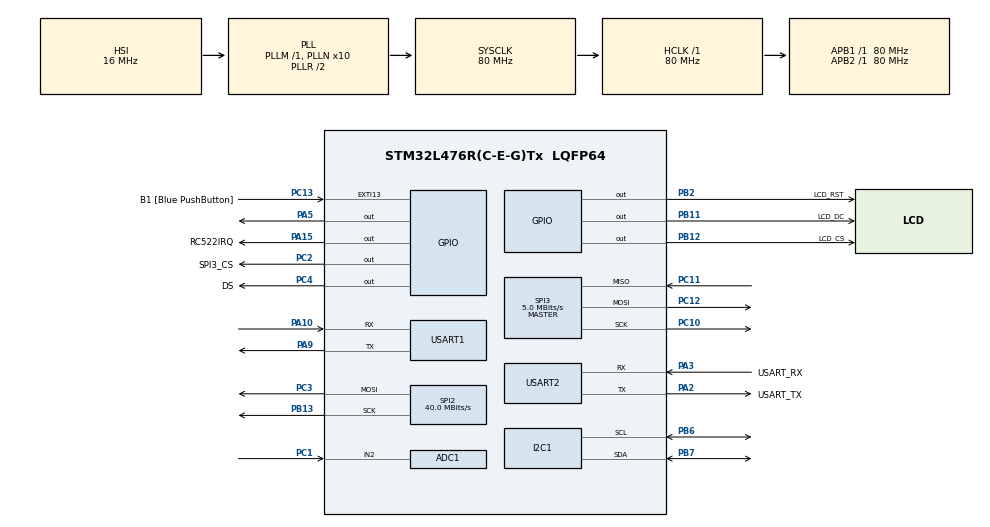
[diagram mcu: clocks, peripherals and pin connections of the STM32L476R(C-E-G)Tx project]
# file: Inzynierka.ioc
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ADC1.Channel-2\#ChannelRegularConversion=ADC_CHANNEL_2
ADC1.ContinuousConvMode=ENABLE
ADC1.NbrOfConversionFlag=1
ADC1.OffsetNumber-2\#ChannelRegularConversion=ADC_OFFSET_NONE
ADC1.Overrun=ADC_OVR_DATA_OVERWRITTEN
ADC1.Rank-2\#ChannelRegularConversion=1
ADC1.SamplingTime-2\#ChannelRegularConversion=ADC_SAMPLETIME_2CYCLES_5
ADC1.master=1
I2C1.Timing=0x10D19CE4
Mcu.Family=STM32L4
Mcu.Name=STM32L476R(C-E-G)Tx
Mcu.Package=LQFP64
NVIC.PriorityGroup=NVIC_PRIORITYGROUP_4
NVIC.TIM7_IRQn=true\:10\:0\:true\:false\:true\:true\:true\:true
PA10.Mode=Asynchronous
PA10.Signal=USART1_RX
PA13\ (JTMS-SWDIO).GPIO_Label=TMS
PA13\ (JTMS-SWDIO).Mode=Serial_Wire
PA13\ (JTMS-SWDIO).Signal=SYS_JTMS-SWDIO
PA14\ (JTCK-SWCLK).GPIO_Label=TCK
PA14\ (JTCK-SWCLK).Mode=Serial_Wire
PA14\ (JTCK-SWCLK).Signal=SYS_JTCK-SWCLK
PA15\ (JTDI).GPIO_Label=RC522IRQ
PA15\ (JTDI).GPIO_ModeDefaultOutputPP=GPIO_MODE_OUTPUT_PP
PA15\ (JTDI).GPIO_PuPd=GPIO_NOPULL
PA15\ (JTDI).Signal=GPIO_Output
PA2.GPIO_Label=USART_TX
PA2.GPIO_Mode=GPIO_MODE_AF_PP
PA2.GPIO_PuPd=GPIO_NOPULL
PA2.GPIO_Speed=GPIO_SPEED_FREQ_VERY_HIGH
PA2.Mode=Asynchronous
PA2.Signal=USART2_TX
PA3.GPIO_Label=USART_RX
PA3.GPIO_Mode=GPIO_MODE_AF_PP
PA3.GPIO_PuPd=GPIO_NOPULL
PA3.GPIO_Speed=GPIO_SPEED_FREQ_VERY_HIGH
PA3.Mode=Asynchronous
PA3.Signal=USART2_RX
PA5.PinState=GPIO_PIN_SET
PA5.Signal=GPIO_Output
PA9.Mode=Asynchronous
PA9.Signal=USART1_TX
PB11.GPIO_Label=LCD_DC
PB11.Signal=GPIO_Output
PB12.GPIO_Label=LCD_CS
PB12.PinState=GPIO_PIN_SET
PB12.Signal=GPIO_Output
PB13.Mode=TX_Only_Simplex_Unidirect_Master
PB13.Signal=SPI2_SCK
PB2.GPIO_Label=LCD_RST
PB2.Signal=GPIO_Output
PB3\ (JTDO-TRACESWO).GPIO_Label=SWO
PB3\ (JTDO-TRACESWO).Signal=SYS_JTDO-SWO
PB6.Mode=I2C
PB6.Signal=I2C1_SCL
PB7.Mode=I2C
PB7.Signal=I2C1_SDA
PC1.Signal=ADCx_IN2
PC10.Mode=Full_Duplex_Master
PC10.Signal=SPI3_SCK
PC11.Mode=Full_Duplex_Master
PC11.Signal=SPI3_MISO
PC12.Mode=Full_Duplex_Master
PC12.Signal=SPI3_MOSI
PC13.GPIO_Label=B1 [Blue PushButton]
PC13.GPIO_ModeDefaultEXTI=GPIO_MODE_IT_FALLING
PC13.GPIO_PuPd=GPIO_NOPULL
PC13.Signal=GPXTI13
PC14-OSC32_IN\ (PC14).Mode=LSE-External-Oscillator
PC14-OSC32_IN\ (PC14).Signal=RCC_OSC32_IN
PC15-OSC32_OUT\ (PC15).Mode=LSE-External-Oscillator
PC15-OSC32_OUT\ (PC15).Signal=RCC_OSC32_OUT
PC2.GPIO_Label=SPI3_CS
PC2.GPIO_PuPd=GPIO_PULLUP
PC2.PinState=GPIO_PIN_RESET
PC2.Signal=GPIO_Output
PC3.Mode=TX_Only_Simplex_Unidirect_Master
PC3.Signal=SPI2_MOSI
PC4.GPIO_Label=DS
PC4.GPIO_ModeDefaultOutputPP=GPIO_MODE_OUTPUT_OD
PC4.GPIO_PuPd=GPIO_NOPULL
PC4.PinState=GPIO_PIN_SET
PC4.Signal=GPIO_Output
PH0-OSC_IN\ (PH0).Signal=RCC_OSC_IN
PH1-OSC_OUT\ (PH1).Signal=RCC_OSC_OUT
ProjectManager.HeapSize=0x200
ProjectManager.StackSize=0x400
ProjectManager.TargetToolchain=STM32CubeIDE
RCC.ADCFreq_Value=64000000
RCC.AHBFreq_Value=80000000
RCC.APB1Freq_Value=80000000
RCC.APB1TimFreq_Value=80000000
RCC.APB2Freq_Value=80000000
RCC.APB2TimFreq_Value=80000000
RCC.CortexFreq_Value=80000000
RCC.HCLKFreq_Value=80000000
RCC.HSE_VALUE=8000000
RCC.HSI_VALUE=16000000
RCC.MSI_VALUE=4000000
RCC.PLLN=10
RCC.PLLSourceVirtual=RCC_PLLSOURCE_HSI
RCC.PREFETCH_ENABLE=1
RCC.SYSCLKFreq_VALUE=80000000
RCC.SYSCLKSource=RCC_SYSCLKSOURCE_PLLCLK
RCC.USBFreq_Value=64000000
RCC.VCOOutputFreq_Value=160000000
SH.ADCx_IN2.0=ADC1_IN2,IN2-Single-Ended
SPI2.CalculateBaudRate=40.0 MBits/s
SPI2.DataSize=SPI_DATASIZE_8BIT
SPI2.Direction=SPI_DIRECTION_2LINES
SPI2.Mode=SPI_MODE_MASTER
SPI2.VirtualType=VM_MASTER
SPI3.BaudRatePrescaler=SPI_BAUDRATEPRESCALER_16
SPI3.CalculateBaudRate=5.0 MBits/s
SPI3.DataSize=SPI_DATASIZE_8BIT
SPI3.Direction=SPI_DIRECTION_2LINES
SPI3.Mode=SPI_MODE_MASTER
SPI3.VirtualType=VM_MASTER
TIM6.Prescaler=79
TIM7.Prescaler=9999
USART1.VirtualMode-Asynchronous=VM_ASYNC
USART2.VirtualMode-Asynchronous=VM_ASYNC
VP_RTC_VS_RTC_Activate.Mode=RTC_Enabled
VP_TIM6_VS_ClockSourceINT.Mode=Enable_Timer
VP_TIM7_VS_ClockSourceINT.Mode=Enable_Timer
board=NUCLEO-L476RG

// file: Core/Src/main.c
/* USER CODE BEGIN Header */
/**
  ******************************************************************************
  * @file           : main.c
  * @brief          : Main program body
  ******************************************************************************
  * @attention
  *
  * Copyright (c) 2024 STMicroelectronics.
  * All rights reserved.
  *
  * This software is licensed under terms that can be found in the LICENSE file
  * in the root directory of this software component.
  * If no LICENSE file comes with this software, it is provided AS-IS.
  *
  ******************************************************************************
  */
/* USER CODE END Header */
#include "main.h"
#include "adc.h"
#include "i2c.h"
#include "rtc.h"
#include "spi.h"
#include "tim.h"
#include "usart.h"
#include "gpio.h"

/* USER CODE BEGIN Includes */
#include "hagl.h"
#include "font6x9.h"
#include "rgb565.h"
#include <stdio.h>
#include "ds18b20.h"
#include <wchar.h>
#include "mfrc522.h"
#include <string.h>
#include "lps25hb.h"
#include <stdbool.h>
/* USER CODE END Includes */

/* USER CODE BEGIN PV */

float voltage;
float temp;
float templps25TempAmount;
float templps25PressureAmount;
char str1[100];
uint8_t cardstr[20];
uint8_t status = 0;
char buffer[50];

typedef struct {
    uint8_t id[5];
    bool hasEntered;
} Person;

int people_in_building = 0;

Person registered_people[] = {
    {{0xA3, 0xBD, 0x45, 0x90, 0xCB}, false},  // Person 1
    {{0xC1, 0xFC, 0x71, 0x1C, 0x50}, false}   // Person 2
};

int find_person_by_card(uint8_t *cardstr) {
    for (int i = 0; i < sizeof(registered_people) / sizeof(Person); i++) {
        int match = 1;
        for (int j = 0; j < 5; j++) {
            if (cardstr[j] != registered_people[i].id[j]) {
                match = 0;
                break;
            }
        }
        if (match) {
            return i;
        }
    }
    return -1;
}

void process_card_scan(uint8_t *cardstr) {
    int person_index = find_person_by_card(cardstr);

    // If the card is registered
    if (person_index != -1) {
        Person *person = &registered_people[person_index];  // Get the person details

        // Check if the person has entered or exited
        if (person->hasEntered) {
            // Person exits
            if (people_in_building > 0) {
                people_in_building--;
                printf("Person exited. People in building: %d\n", people_in_building);
            }
            person->hasEntered = false;  // Toggle to exit status
        } else {
            // Person enters
            people_in_building++;
            printf("Person entered. People in building: %d\n", people_in_building);
            person->hasEntered = true;   // Toggle to enter status
        }
    } else {
        printf("Unregistered card scanned!\n");
    }
}

int __io_putchar(int ch)
{
  if (ch == '\n') {
    __io_putchar('\r');
  }

  HAL_UART_Transmit(&huart2, (uint8_t*)&ch, 1, HAL_MAX_DELAY);

  return 1;
}

void ConvertFloatToWchar(float value, wchar_t* wbuffer, size_t buffer_size) {
    swprintf(wbuffer, buffer_size, L"%.1f °C", value);
}
void ConvertFloatToWchar2(float value, wchar_t* wbuffer, size_t buffer_size) {
    swprintf(wbuffer, buffer_size, L"Temperatura %.1f °C", value);
}
void ConvertFloatToWchar3(float value, wchar_t* wbuffer, size_t buffer_size) {
    swprintf(wbuffer, buffer_size, L"Ciśnienie %.1f hPa", value);
}

void send_data(float temp, uint8_t *cardstr) {
    uint8_t tx_buffer[24];

    memcpy(tx_buffer, &temp, sizeof(float));
    memcpy(tx_buffer + 4, cardstr, 20);

    HAL_UART_Transmit(&huart1, tx_buffer, sizeof(tx_buffer), HAL_MAX_DELAY);
}

void send_telemetry_to_esp32(float temperature, float pressure, float light_level, int people_count) {
    char message[100];
    sprintf(message, "TELE:%.2f,%.2f,%.2f,%d\n", temperature, pressure, light_level, people_count);
    HAL_UART_Transmit(&huart1, (uint8_t*)message, strlen(message), HAL_MAX_DELAY);
}

void send_rfid_to_esp32(float temperature, uint8_t *card_info) {
    char message[100];
    sprintf(message, "RFID:%.2f,%02X%02X%02X%02X%02X\n", temperature, card_info[0], card_info[1], card_info[2], card_info[3], card_info[4]);

    if (HAL_UART_Transmit(&huart1, (uint8_t*)message, strlen(message), HAL_MAX_DELAY) != HAL_OK) {
        printf("UART Transmit failed for RFID data\n");
    } else {
        printf("RFID data sent: %s\n", message);  // Debug print to console
    }
}

int overflow_count = 0;
void HAL_TIM_PeriodElapsedCallback(TIM_HandleTypeDef *htim) {
    if (htim == &htim7) {
        overflow_count++;

        if (overflow_count >= 8) {  // After 8 overflows (~60 seconds)
            overflow_count = 0;
            send_telemetry_to_esp32(templps25TempAmount, templps25PressureAmount, voltage, people_in_building);// Send data to ESP32
        }
    }
}

/* USER CODE END PV */

void SystemClock_Config(void);

int main(void)
{

  /* MCU Configuration--------------------------------------------------------*/

  /* Reset of all peripherals, Initializes the Flash interface and the Systick. */
  HAL_Init();

  /* Configure the system clock */
  SystemClock_Config();

  /* Initialize all configured peripherals */
  MX_GPIO_Init();
  MX_USART2_UART_Init();
  MX_SPI2_Init();
  MX_RTC_Init();
  MX_SPI3_Init();
  MX_USART1_UART_Init();
  MX_I2C1_Init();
  MX_ADC1_Init();
  MX_TIM6_Init();
  MX_TIM7_Init();
  /* USER CODE BEGIN 2 */
  MFRC522_Init(&hspi3);
  HAL_ADC_Start(&hadc1);
  HAL_TIM_Base_Start_IT(&htim7);

  if (ds18b20_init() != HAL_OK) {
    Error_Handler();
  }

  uint8_t ds1[DS18B20_ROM_CODE_SIZE];

  if (ds18b20_read_address(ds1) != HAL_OK) {
    Error_Handler();
  }
  lcd_init();

  for (int i = 0; i < 8; i++) {
  	    hagl_draw_rounded_rectangle(2+i, 2+i, 158-i, 126-i, 8-i, rgb565(100, 0, i*16));
  }

  HAL_ADCEx_Calibration_Start(&hadc1, ADC_SINGLE_ENDED);

  /* USER CODE END 2 */

  /* Infinite loop */
  /* USER CODE BEGIN WHILE */
  while (1)
  {
	  lps25hb_init();
	  ds18b20_start_measure(NULL);
	  HAL_Delay(750);
	  if (HAL_ADC_PollForConversion(&hadc1, HAL_MAX_DELAY) == HAL_OK){
	  	uint32_t LDR_Value = HAL_ADC_GetValue(&hadc1);
	  	voltage = 100 - (LDR_Value * 0.0008f / 2.5f * 100);
	  	sprintf(buffer, "Poziom natężenia oświetlenia: %f\r\n", voltage);
	  	HAL_UART_Transmit(&huart2, (uint8_t*)buffer, strlen(buffer), HAL_MAX_DELAY);
	  }
	    temp = ds18b20_get_temp(NULL);
	    templps25TempAmount = lps25hb_read_temp();
	    templps25PressureAmount = lps25hb_read_pressure();
	    wchar_t wbuffer[20];
	    wchar_t wbufferlps25hpTemp[20];
	    wchar_t wbufferlps25hpPress[21];
	    ConvertFloatToWchar(temp, wbuffer, sizeof(wbuffer) / sizeof(wchar_t));
	    ConvertFloatToWchar2(templps25TempAmount, wbufferlps25hpTemp, sizeof(wbufferlps25hpTemp) / sizeof(wchar_t));
	    ConvertFloatToWchar3(templps25PressureAmount, wbufferlps25hpPress, sizeof(wbufferlps25hpPress) / sizeof(wchar_t));
	    if (temp >= 80.0f){
	      printf(" DS18 sensor error...\n");
	    }
	    else{
	    	hagl_put_text(wbuffer, 10, 15, YELLOW, font6x9);
	    	hagl_put_text(L"Na zewnątrz", 10, 90, YELLOW, font6x9);
	    	hagl_put_text(wbufferlps25hpTemp, 10, 100, YELLOW, font6x9);
	    	hagl_put_text(wbufferlps25hpPress, 10, 110, YELLOW, font6x9);
	    	lcd_copy();
	    }
	    status = MFRC522_Request(PICC_REQIDL, &(cardstr[0]));
	   	if (status == MI_OK) {
	   	  	status = MFRC522_Anticoll(&(cardstr[0]));
	   	  	if (status == MI_OK) {
	   	  		sprintf(str1, "Card:%x,%x,%x,%x,%x\r\n", cardstr[0], cardstr[1], cardstr[2], cardstr[3], cardstr[4]);
	   	  		process_card_scan(cardstr);
	   	  		HAL_UART_Transmit(&huart2, str1, strlen(str1), 500);
	   	  				if(cardstr[0] == 0xc1){
	   	  					//hagl_put_text(L"Witaj Patryk", 45, 55, YELLOW, font6x9);
	   	  					if(registered_people[1].hasEntered == true){
	   	  						hagl_put_text(L"Logowanie", 45, 55, YELLOW, font6x9);
	   	  					}
	   	  					else{
	   	  						hagl_put_text(L"Wylogowanie", 45, 55, YELLOW, font6x9);

	   	  					}
	   	  					lcd_copy();
	   	  					send_rfid_to_esp32(temp, cardstr);
	   	  					HAL_Delay(2000);
	   	  					hagl_clear_screen();
	   	  					for (int i = 0; i < 8; i++) {
	   	  						hagl_draw_rounded_rectangle(2+i, 2+i, 158-i, 126-i, 8-i, rgb565(100, 0, i*16));
	   	  					}
	   	  					lcd_copy();
	   	  				}
	   	  				if(cardstr[0] == 0xa3){
	   	  					hagl_put_text(L"Witaj Mariusz", 45, 55, YELLOW, font6x9);
	   	  					lcd_copy();
	   	  					send_rfid_to_esp32(temp, cardstr);
	   	  					HAL_Delay(1000);
	   	  					hagl_clear_screen();
	   	  					for (int i = 0; i < 8; i++) {
	   	  						hagl_draw_rounded_rectangle(2+i, 2+i, 158-i, 126-i, 8-i, rgb565(100, 0, i*16));
	   	  					}
	   	  					lcd_copy();
	   	  				}
	   	  			}
	   	}
    /* USER CODE END WHILE */

  }
}

void SystemClock_Config(void)
{
  RCC_OscInitTypeDef RCC_OscInitStruct = {0};
  RCC_ClkInitTypeDef RCC_ClkInitStruct = {0};

  /** Configure the main internal regulator output voltage
  */
  if (HAL_PWREx_ControlVoltageScaling(PWR_REGULATOR_VOLTAGE_SCALE1) != HAL_OK)
  {
    Error_Handler();
  }

  /** Initializes the RCC Oscillators according to the specified parameters
  * in the RCC_OscInitTypeDef structure.
  */
  RCC_OscInitStruct.OscillatorType = RCC_OSCILLATORTYPE_HSI|RCC_OSCILLATORTYPE_LSI;
  RCC_OscInitStruct.HSIState = RCC_HSI_ON;
  RCC_OscInitStruct.HSICalibrationValue = RCC_HSICALIBRATION_DEFAULT;
  RCC_OscInitStruct.LSIState = RCC_LSI_ON;
  RCC_OscInitStruct.PLL.PLLState = RCC_PLL_ON;
  RCC_OscInitStruct.PLL.PLLSource = RCC_PLLSOURCE_HSI;
  RCC_OscInitStruct.PLL.PLLM = 1;
  RCC_OscInitStruct.PLL.PLLN = 10;
  RCC_OscInitStruct.PLL.PLLP = RCC_PLLP_DIV7;
  RCC_OscInitStruct.PLL.PLLQ = RCC_PLLQ_DIV2;
  RCC_OscInitStruct.PLL.PLLR = RCC_PLLR_DIV2;
  if (HAL_RCC_OscConfig(&RCC_OscInitStruct) != HAL_OK)
  {
    Error_Handler();
  }

  /** Initializes the CPU, AHB and APB buses clocks
  */
  RCC_ClkInitStruct.ClockType = RCC_CLOCKTYPE_HCLK|RCC_CLOCKTYPE_SYSCLK
                              |RCC_CLOCKTYPE_PCLK1|RCC_CLOCKTYPE_PCLK2;
  RCC_ClkInitStruct.SYSCLKSource = RCC_SYSCLKSOURCE_PLLCLK;
  RCC_ClkInitStruct.AHBCLKDivider = RCC_SYSCLK_DIV1;
  RCC_ClkInitStruct.APB1CLKDivider = RCC_HCLK_DIV1;
  RCC_ClkInitStruct.APB2CLKDivider = RCC_HCLK_DIV1;

  if (HAL_RCC_ClockConfig(&RCC_ClkInitStruct, FLASH_LATENCY_4) != HAL_OK)
  {
    Error_Handler();
  }
}

void Error_Handler(void)
{
  __disable_irq();
  while (1)
  {
  }
}
